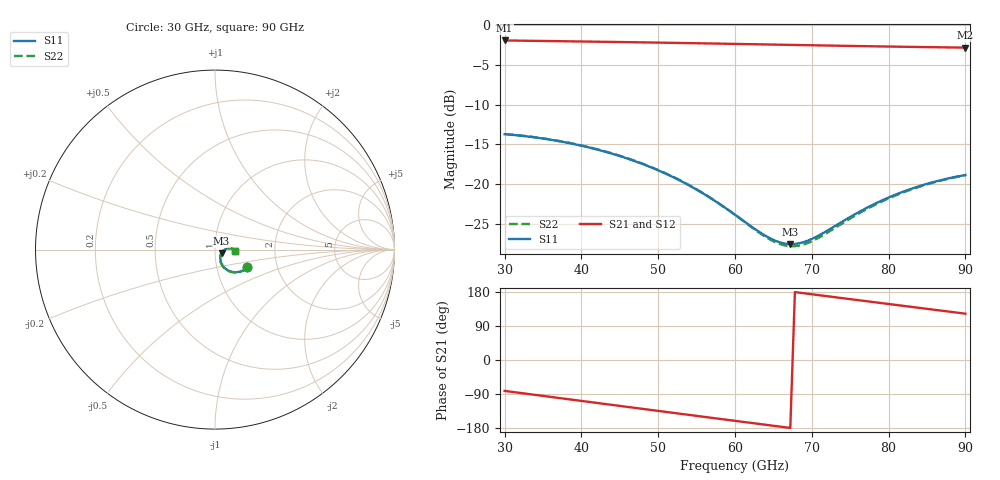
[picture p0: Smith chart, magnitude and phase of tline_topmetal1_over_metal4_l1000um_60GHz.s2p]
#  GHZ S DB R 50
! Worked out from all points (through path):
!   101 points, 30 GHz to 90 GHz, reference 50 ohm
!   highest |S21| = -1.94 dB at 30 GHz (marker M1); lowest = -2.8 dB at 90 GHz (marker M2)
!   group delay of S21, straight-line fit = 7.24 ps
!   lowest |S11| = -27.6 dB at 67.2 GHz (marker M3), VSWR 1.09, Z = 53.8 - j2.16 ohm
!   |S11| at or under -10 dB: start of sweep to end of sweep
!   |S22| runs from -27.8 to -13.7 dB; largest |S21 - S12| = 9.2e-14
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30  -13.74 -28.5  -1.94 -81.5  -1.94 -81.5  -13.72 -28.8
32.4  -13.96 -32.8  -1.97 -87.9  -1.97 -87.9  -13.94 -33.1
34.8  -14.26 -37.1  -2.00 -94.2  -2.00 -94.2  -14.23 -37.5
37.2  -14.64 -41.4  -2.03 -100.6  -2.03 -100.6  -14.61 -41.8
40.2  -15.23 -46.6  -2.07 -108.5  -2.07 -108.5  -15.20 -47.1
42.6  -15.81 -50.6  -2.10 -114.8  -2.10 -114.8  -15.78 -51.2
45  -16.49 -54.4  -2.14 -121.1  -2.14 -121.1  -16.45 -55.0
47.4  -17.29 -57.8  -2.17 -127.5  -2.17 -127.5  -17.25 -58.6
50.4  -18.46 -61.5  -2.22 -135.4  -2.22 -135.4  -18.42 -62.4
55.2  -20.83 -64.8  -2.29 -148.0  -2.29 -148.0  -20.79 -66.0
57.6  -22.27 -64.4  -2.33 -154.3  -2.33 -154.3  -22.25 -65.9
60  -23.88 -61.6  -2.37 -160.5  -2.37 -160.5  -23.89 -63.3
64.2  -26.66 -47.2  -2.44 -171.5  -2.44 -171.5  -26.79 -49.2
66  -27.40 -36.5  -2.47 -176.1  -2.47 -176.1  -27.62 -38.4
67.2  -27.58 -28.6  -2.49 -179.3  -2.49 -179.3  -27.84 -30.2
68.4  -27.46 -20.8  -2.52 177.6  -2.52 177.6  -27.75 -22.0
70.2  -26.84 -10.5  -2.55 173.0  -2.55 173.0  -27.12 -11.2
75  -24.16 3.8  -2.63 160.6  -2.63 160.6  -24.35 3.8
78  -22.60 5.9  -2.67 152.9  -2.67 152.9  -22.73 5.9
80.4  -21.54 5.4  -2.71 146.8  -2.71 146.8  -21.65 5.4
85.2  -19.93 1.4  -2.78 134.5  -2.78 134.5  -20.00 1.3
90  -18.87 -4.8  -2.84 122.3  -2.84 122.3  -18.92 -5.0
